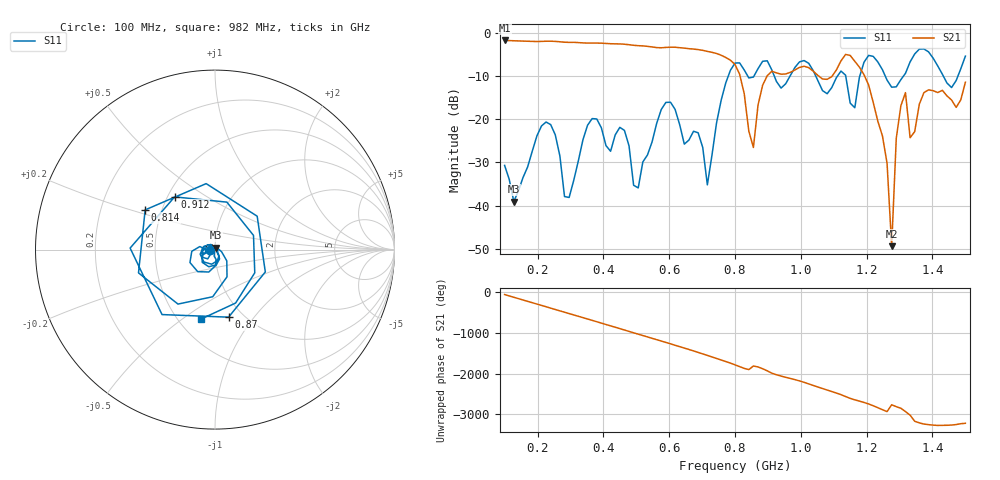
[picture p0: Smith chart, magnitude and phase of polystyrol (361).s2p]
! NanoVNA-App
! Date: 2025-09-25 15:32:42
! Start: 100MHz Stop: 1,5GHz Points: 101
! S-Parameter data: F S11 S21 S12 S22
# Hz S RI R 50
!  Frequency  S11_Real  S11_Imag  S21_Real  S21_Imag  S12_Real  S12_Imag  S22_Real  S22_Imag
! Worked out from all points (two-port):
!   101 points, 100 MHz to 1.5 GHz, reference 50 ohm
!   highest |S21| = -1.80 dB at 100 MHz (marker M1); lowest = -49.4 dB at 1.276 GHz (marker M2)
!   |S21| within 3 dB of the highest: start of sweep to 743.2 MHz
!   lowest |S11| = -39.1 dB at 128 MHz (marker M3), VSWR 1.02, Z = 50.3 + j1.07 ohm
!   |S11| at or under -10 dB: start of sweep to 779.8 MHz; 1.045 GHz to 1.112 GHz (66.48 MHz wide, 6.16 % of centre); 1.256 GHz to 1.312 GHz (55.89 MHz wide, 4.35 % of centre) (the widest 3 of 7)
!   S12 and S22 are empty: the file has one direction only
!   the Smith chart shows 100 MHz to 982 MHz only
!   S11 on the Smith chart (normalised r, x): 100 MHz: 0.94, -0.01; 814 MHz: 0.40, +0.22; 870 MHz: 0.86, -0.76; 912 MHz: 0.54, +0.37; 982 MHz: 0.64, -0.59
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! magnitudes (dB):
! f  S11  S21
! 100 MHz  -30.7  -1.8
! 128 MHz  -39.1  -1.9
! 212 MHz  -21.6  -2.0
! 282 MHz  -37.9  -2.2
! 338 MHz  -24.8  -2.4
! 506 MHz  -35.9  -3.0
! 576 MHz  -17.8  -3.5
! 716 MHz  -35.2  -4.3
! 800 MHz  -7.0  -7.4
! 814 MHz  -7.0  -9.6
! 856 MHz  -10.3  -26.6
! 870 MHz  -8.3  -16.7
! 912 MHz  -8.6  -8.9
! 982 MHz  -8.0  -8.6
! 1.038 GHz  -8.8  -8.9
! 1.164 GHz  -17.4  -6.6
! 1.206 GHz  -5.3  -12.1
! 1.262 GHz  -11.0  -30.2
! 1.276 GHz  -12.6  -49.4
! 1.29 GHz  -12.5  -24.4
! 1.318 GHz  -9.4  -13.9
! 1.5 GHz  -5.4  -11.5
